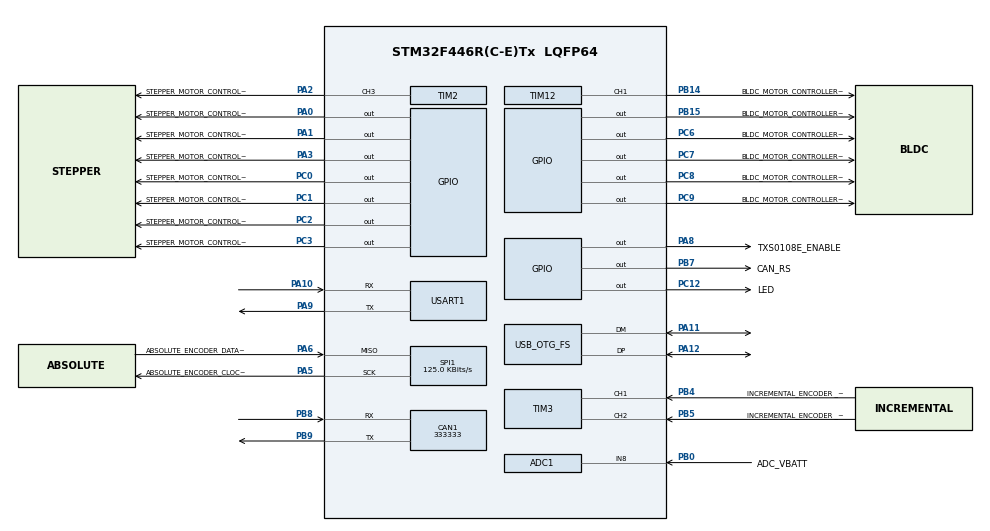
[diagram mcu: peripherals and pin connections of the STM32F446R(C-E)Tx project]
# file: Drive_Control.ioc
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ADC1.Channel-3\#ChannelRegularConversion=ADC_CHANNEL_8
ADC1.DMAContinuousRequests=ENABLE
ADC1.ExternalTrigConv=ADC_EXTERNALTRIGCONV_T8_TRGO
ADC1.NbrOfConversion=1
ADC1.NbrOfConversionFlag=1
ADC1.Rank-3\#ChannelRegularConversion=1
ADC1.SamplingTime-3\#ChannelRegularConversion=ADC_SAMPLETIME_3CYCLES
ADC1.master=1
CAN1.CalculateBaudRate=333333
CAN1.CalculateTimeBit=3000
CAN1.CalculateTimeQuantum=1000.0
Dma.ADC1.2.Direction=DMA_PERIPH_TO_MEMORY
Dma.ADC1.2.FIFOMode=DMA_FIFOMODE_DISABLE
Dma.ADC1.2.Instance=DMA2_Stream0
Dma.ADC1.2.MemDataAlignment=DMA_MDATAALIGN_HALFWORD
Dma.ADC1.2.MemInc=DMA_MINC_ENABLE
Dma.ADC1.2.Mode=DMA_CIRCULAR
Dma.ADC1.2.PeriphDataAlignment=DMA_PDATAALIGN_HALFWORD
Dma.ADC1.2.PeriphInc=DMA_PINC_DISABLE
Dma.ADC1.2.Priority=DMA_PRIORITY_LOW
Dma.Request0=USART1_RX
Dma.Request1=USART1_TX
Dma.Request2=ADC1
Dma.USART1_RX.0.Direction=DMA_PERIPH_TO_MEMORY
Dma.USART1_RX.0.FIFOMode=DMA_FIFOMODE_DISABLE
Dma.USART1_RX.0.Instance=DMA2_Stream2
Dma.USART1_RX.0.MemDataAlignment=DMA_MDATAALIGN_BYTE
Dma.USART1_RX.0.MemInc=DMA_MINC_ENABLE
Dma.USART1_RX.0.Mode=DMA_NORMAL
Dma.USART1_RX.0.PeriphDataAlignment=DMA_PDATAALIGN_BYTE
Dma.USART1_RX.0.PeriphInc=DMA_PINC_DISABLE
Dma.USART1_RX.0.Priority=DMA_PRIORITY_LOW
Dma.USART1_TX.1.Direction=DMA_MEMORY_TO_PERIPH
Dma.USART1_TX.1.FIFOMode=DMA_FIFOMODE_DISABLE
Dma.USART1_TX.1.Instance=DMA2_Stream7
Dma.USART1_TX.1.MemDataAlignment=DMA_MDATAALIGN_BYTE
Dma.USART1_TX.1.MemInc=DMA_MINC_ENABLE
Dma.USART1_TX.1.Mode=DMA_NORMAL
Dma.USART1_TX.1.PeriphDataAlignment=DMA_PDATAALIGN_BYTE
Dma.USART1_TX.1.PeriphInc=DMA_PINC_DISABLE
Dma.USART1_TX.1.Priority=DMA_PRIORITY_LOW
Mcu.Family=STM32F4
Mcu.Name=STM32F446R(C-E)Tx
Mcu.Package=LQFP64
NVIC.DMA2_Stream0_IRQn=true\:0\:0\:false\:false\:true\:false\:true\:true
NVIC.DMA2_Stream2_IRQn=true\:0\:0\:false\:false\:true\:false\:true\:true
NVIC.DMA2_Stream7_IRQn=true\:0\:0\:false\:false\:true\:false\:true\:true
NVIC.OTG_FS_IRQn=true\:0\:0\:false\:false\:true\:false\:true\:true
NVIC.PriorityGroup=NVIC_PRIORITYGROUP_4
NVIC.TIM4_IRQn=true\:0\:0\:false\:false\:true\:true\:true\:true
NVIC.USART1_IRQn=true\:0\:0\:false\:false\:true\:true\:true\:true
PA0-WKUP.GPIO_Label=STEPPER_MOTOR_CONTROLLER_RESET_GPIO_OUT
PA0-WKUP.Signal=GPIO_Output
PA1.GPIO_Label=STEPPER_MOTOR_CONTROLLER_SLEEP_GPIO_OUT
PA1.Signal=GPIO_Output
PA10.Mode=Asynchronous
PA10.Signal=USART1_RX
PA11.Mode=Device_Only
PA11.Signal=USB_OTG_FS_DM
PA12.Mode=Device_Only
PA12.Signal=USB_OTG_FS_DP
PA13.Mode=Serial_Wire
PA13.Signal=SYS_JTMS-SWDIO
PA14.Mode=Serial_Wire
PA14.Signal=SYS_JTCK-SWCLK
PA2.GPIO_Label=STEPPER_MOTOR_CONTROLLER_STEP_PWM
PA2.Signal=S_TIM2_CH3
PA3.GPIO_Label=STEPPER_MOTOR_CONTROLLER_DIR_GPIO_OUT
PA3.Signal=GPIO_Output
PA5.GPIO_Label=ABSOLUTE_ENCODER_CLOCK_IN_SPI
PA5.Mode=RX_Only_Simplex_Unidirect_Master
PA5.Signal=SPI1_SCK
PA6.GPIO_Label=ABSOLUTE_ENCODER_DATA_OUT_SPI
PA6.Mode=RX_Only_Simplex_Unidirect_Master
PA6.Signal=SPI1_MISO
PA8.GPIO_Label=TXS0108E_ENABLE
PA8.Signal=GPIO_Output
PA9.Mode=Asynchronous
PA9.Signal=USART1_TX
PB0.GPIO_Label=ADC_VBATT
PB0.Signal=ADCx_IN8
PB14.GPIO_Label=BLDC_MOTOR_CONTROLLER_SV_PWM 
PB14.Signal=S_TIM12_CH1
PB15.GPIO_Label=BLDC_MOTOR_CONTROLLER_F_R_GPIO_OUT
PB15.Signal=GPIO_Output
PB4.GPIO_Label=INCREMENTAL_ENCODER _CH_A_PWM 
PB4.Signal=S_TIM3_CH1
PB5.GPIO_Label=INCREMENTAL_ENCODER _CH_B_PWM 
PB5.Signal=S_TIM3_CH2
PB7.GPIO_Label=CAN_RS
PB7.Signal=GPIO_Output
PB8.Mode=CAN_Activate
PB8.Signal=CAN1_RX
PB9.Mode=CAN_Activate
PB9.Signal=CAN1_TX
PC0.GPIO_Label=STEPPER_MOTOR_CONTROLLER_ENABLE_GPIO_OUT
PC0.Signal=GPIO_Output
PC1.GPIO_Label=STEPPER_MOTOR_CONTROLLER_MS1_GPIO_OUT
PC1.Signal=GPIO_Output
PC12.GPIO_Label=LED
PC12.Signal=GPIO_Output
PC14-OSC32_IN.Mode=LSE-External-Oscillator
PC14-OSC32_IN.Signal=RCC_OSC32_IN
PC15-OSC32_OUT.Mode=LSE-External-Oscillator
PC15-OSC32_OUT.Signal=RCC_OSC32_OUT
PC2.GPIO_Label=STEPPER_MOTOR_CONTROLLER_MS2_GPIO_OUT
PC2.Signal=GPIO_Output
PC3.GPIO_Label=STEPPER_MOTOR_CONTROLLER_MS3_GPIO_OUT
PC3.Signal=GPIO_Output
PC6.GPIO_Label=BLDC_MOTOR_CONTROLLER_EN_GPIO_OUT
PC6.Signal=GPIO_Output
PC7.GPIO_Label=BLDC_MOTOR_CONTROLLER_BRK_GPIO_OUT
PC7.Signal=GPIO_Output
PC8.GPIO_Label=BLDC_MOTOR_CONTROLLER_PG_GPIO_OUT
PC8.Signal=GPIO_Output
PC9.GPIO_Label=BLDC_MOTOR_CONTROLLER_ALM_GPIO_OUT
PC9.Signal=GPIO_Output
PH0-OSC_IN.Mode=HSE-External-Oscillator
PH0-OSC_IN.Signal=RCC_OSC_IN
PH1-OSC_OUT.Mode=HSE-External-Oscillator
PH1-OSC_OUT.Signal=RCC_OSC_OUT
ProjectManager.HeapSize=0x800
ProjectManager.StackSize=0x1000
ProjectManager.TargetToolchain=Makefile
RCC.CortexFreq_Value=16000000
RCC.PLLM=15
RCC.PLLN=144
RCC.PLLQ=5
RCC.USBFreq_Value=48000000
RCC.VCOOutputFreq_Value=240000000
SH.ADCx_IN8.0=ADC1_IN8,IN8
SH.S_TIM12_CH1.0=TIM12_CH1,PWM Generation1 CH1
SH.S_TIM2_CH3.0=TIM2_CH3,PWM Generation3 CH3
SH.S_TIM3_CH1.0=TIM3_CH1,Encoder_Interface
SH.S_TIM3_CH2.0=TIM3_CH2,Encoder_Interface
SPI1.BaudRatePrescaler=SPI_BAUDRATEPRESCALER_128
SPI1.CLKPhase=SPI_PHASE_2EDGE
SPI1.CLKPolarity=SPI_POLARITY_HIGH
SPI1.CalculateBaudRate=125.0 KBits/s
SPI1.Direction=SPI_DIRECTION_2LINES_RXONLY
SPI1.Mode=SPI_MODE_MASTER
SPI1.VirtualType=VM_MASTER
TIM12.Channel-PWM\ Generation1\ CH1=TIM_CHANNEL_1
TIM2.Channel-PWM\ Generation3\ CH3=TIM_CHANNEL_3
TIM4.Period=50000-1
TIM4.Prescaler=16-1
TIM8.Period=32000
TIM8.Prescaler=999
TIM8.TIM_MasterOutputTrigger=TIM_TRGO_UPDATE
USART1.VirtualMode=VM_ASYNC
USB_DEVICE.CLASS_NAME_FS=CDC
USB_DEVICE.VirtualMode-CDC_FS=Cdc
USB_DEVICE.VirtualModeFS=Cdc_FS
USB_OTG_FS.Sof_enable=DISABLE
USB_OTG_FS.VirtualMode=Device_Only
VP_TIM4_VS_ClockSourceINT.Mode=Internal
VP_TIM8_VS_ClockSourceINT.Mode=Internal
VP_USB_DEVICE_VS_USB_DEVICE_CDC_FS.Mode=CDC_FS
board=custom

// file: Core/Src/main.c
/* USER CODE BEGIN Header */
/**
  ******************************************************************************
  * @file           : main.c
  * @brief          : Main program body
  ******************************************************************************
  * @attention
  *
  * Copyright (c) 2025 STMicroelectronics.
  * All rights reserved.
  *
  * This software is licensed under terms that can be found in the LICENSE file
  * in the root directory of this software component.
  * If no LICENSE file comes with this software, it is provided AS-IS.
  *
  ******************************************************************************
  */
/* USER CODE END Header */
#include "main.h"
#include "adc.h"
#include "can.h"
#include "dma.h"
#include "spi.h"
#include "tim.h"
#include "usart.h"
#include "usb_device.h"
#include "gpio.h"

/* USER CODE BEGIN Includes */
#include "callbacks.h"
#include "RingBuffer.h"
#include "parse.h"
#include "AbsoluteEncoder_Driver.h"

#ifdef DLT_ENABLE
    #include "DLTuc.h"
    #define DLT_DEBUG(...) LOGL(DL_INFO, __VA_ARGS__)
#else
    #define DLT_DEBUG(...)
#endif
/* USER CODE END Includes */

/* USER CODE BEGIN PV */
volatile float angle = 0.0f;
// extern RingBuffer_t ReceiveBuffer;
// extern uint8_t ReceivedLines;
// uint8_t ReceivedData[32]; // A buffer for parsing
// uint8_t UsbBuffer[64];
// uint8_t UsbBufferLength;
/* USER CODE END PV */

void SystemClock_Config(void);

/* USER CODE BEGIN 0 */
void DLTuc_SerialTxDataFunction(uint8_t* logData, uint8_t Size);
void DLTuc_SerialRxDataFunction(uint8_t* logData, uint16_t Size);
uint32_t DLTuc_TimeStamp(void);

/* USER CODE END 0 */

int main(void)
{

  /* MCU Configuration--------------------------------------------------------*/

  /* Reset of all peripherals, Initializes the Flash interface and the Systick. */
  HAL_Init();

  /* Configure the system clock */
  SystemClock_Config();

  /* Initialize all configured peripherals */
  MX_GPIO_Init();
  MX_DMA_Init();
  MX_CAN1_Init();
  MX_SPI1_Init();
  MX_TIM2_Init();
  MX_TIM3_Init();
  MX_TIM12_Init();
  MX_USART1_UART_Init();
  MX_ADC1_Init();
  MX_TIM8_Init();
  MX_USB_DEVICE_Init();
  MX_TIM4_Init();
  /* USER CODE BEGIN 2 */
  DLTuc_RegisterTransmitSerialDataFunction(DLTuc_SerialTxDataFunction);
  DLTuc_RegisterReceiveSerialDataFunction(DLTuc_SerialRxDataFunction);
  DLTuc_RegisterGetTimeStampMsCallback(DLTuc_TimeStamp);
  HAL_TIM_Base_Start_IT(&htim4);
  /* USER CODE END 2 */

  /* Infinite loop */
  /* USER CODE BEGIN WHILE */
  while (1)
  {

    // Do parser work
    if(ReceivedLines > 0)
    {
      // Take one line from the Ring Buffer to work-buffer
      Parser_TakeLine(&ReceiveBuffer, ReceivedData);
      // Run the parser with work-buffer
      // Parser_Parse(ReceivedData);
      Parser_StepperMotorCommand(ReceivedData);
      ReceivedLines--;
    }

    /* USER CODE END WHILE */

  }
}

void SystemClock_Config(void)
{
  RCC_OscInitTypeDef RCC_OscInitStruct = {0};
  RCC_ClkInitTypeDef RCC_ClkInitStruct = {0};

  /** Configure the main internal regulator output voltage
  */
  __HAL_RCC_PWR_CLK_ENABLE();
  __HAL_PWR_VOLTAGESCALING_CONFIG(PWR_REGULATOR_VOLTAGE_SCALE3);

  /** Initializes the RCC Oscillators according to the specified parameters
  * in the RCC_OscInitTypeDef structure.
  */
  RCC_OscInitStruct.OscillatorType = RCC_OSCILLATORTYPE_HSI;
  RCC_OscInitStruct.HSIState = RCC_HSI_ON;
  RCC_OscInitStruct.HSICalibrationValue = RCC_HSICALIBRATION_DEFAULT;
  RCC_OscInitStruct.PLL.PLLState = RCC_PLL_ON;
  RCC_OscInitStruct.PLL.PLLSource = RCC_PLLSOURCE_HSE;
  RCC_OscInitStruct.PLL.PLLM = 15;
  RCC_OscInitStruct.PLL.PLLN = 144;
  RCC_OscInitStruct.PLL.PLLP = RCC_PLLP_DIV2;
  RCC_OscInitStruct.PLL.PLLQ = 5;
  RCC_OscInitStruct.PLL.PLLR = 2;
  if (HAL_RCC_OscConfig(&RCC_OscInitStruct) != HAL_OK)
  {
    Error_Handler();
  }

  /** Initializes the CPU, AHB and APB buses clocks
  */
  RCC_ClkInitStruct.ClockType = RCC_CLOCKTYPE_HCLK|RCC_CLOCKTYPE_SYSCLK
                              |RCC_CLOCKTYPE_PCLK1|RCC_CLOCKTYPE_PCLK2;
  RCC_ClkInitStruct.SYSCLKSource = RCC_SYSCLKSOURCE_HSI;
  RCC_ClkInitStruct.AHBCLKDivider = RCC_SYSCLK_DIV1;
  RCC_ClkInitStruct.APB1CLKDivider = RCC_HCLK_DIV1;
  RCC_ClkInitStruct.APB2CLKDivider = RCC_HCLK_DIV1;

  if (HAL_RCC_ClockConfig(&RCC_ClkInitStruct, FLASH_LATENCY_0) != HAL_OK)
  {
    Error_Handler();
  }
}

/* USER CODE BEGIN 4 */

void DLTuc_SerialTxDataFunction(uint8_t* logData, uint8_t Size)
{
  HAL_UART_Transmit_DMA(&huart1, logData, Size);
}

void DLTuc_SerialRxDataFunction(uint8_t* logData, uint16_t Size)
{
  HAL_UARTEx_ReceiveToIdle_DMA(&huart1, logData, Size);
}

uint32_t DLTuc_TimeStamp(void)
{
  return HAL_GetTick();
}

void HAL_TIM_PeriodElapsedCallback(TIM_HandleTypeDef *htim)
{
  if (htim->Instance == TIM4)
  {
  angle = ReadAngleFromEncoder();
  }
}

/* USER CODE END 4 */

void Error_Handler(void)
{
  __disable_irq();
  while (1)
  {
  }
}
